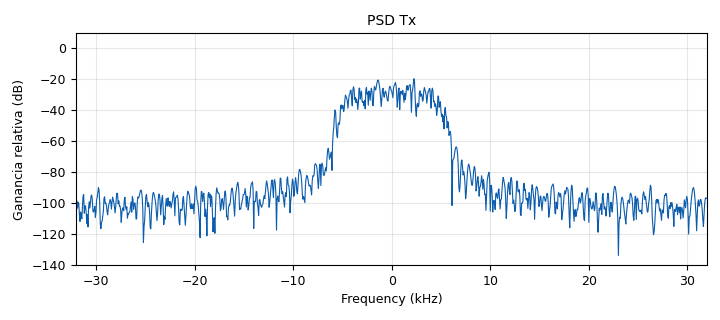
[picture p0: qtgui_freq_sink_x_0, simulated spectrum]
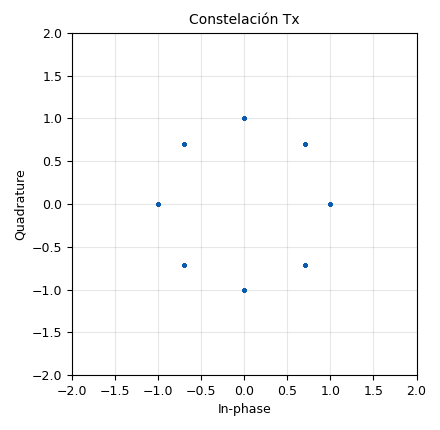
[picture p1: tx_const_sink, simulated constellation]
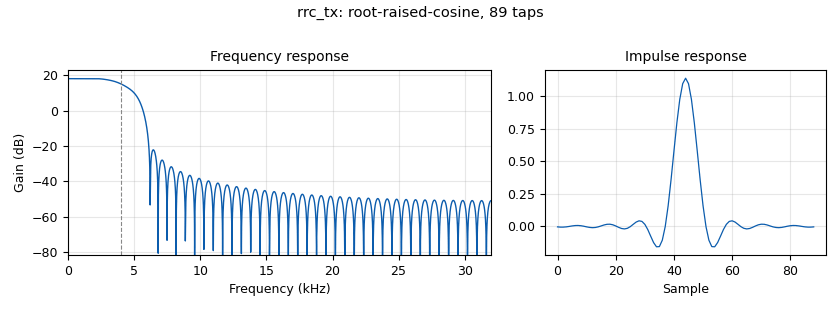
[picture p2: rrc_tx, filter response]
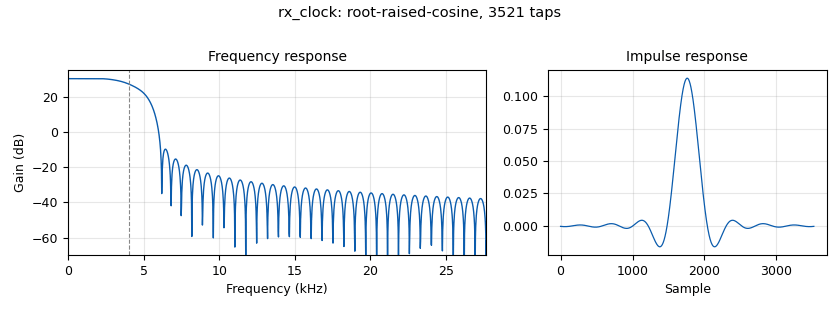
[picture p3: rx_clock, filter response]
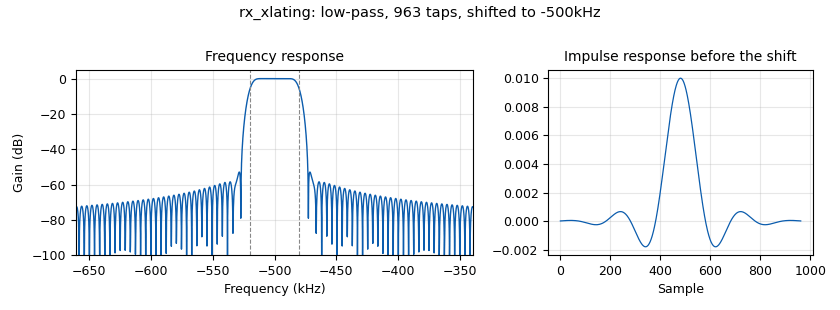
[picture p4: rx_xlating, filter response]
options:
  parameters:
    description: Tx PSK (BPSK/QPSK/8PSK) con RRC + Rx con segundo HackRF
    generate_options: qt_gui
    id: Guia2_Constelaciones_Tx_Rx
    output_language: python
    title: Guia 4 - BER vs Eb/N0 (BPSK/QPSK/8PSK)
  states: {}

blocks:
- name: EbN0_max
  id: variable
  parameters:
    value: '14.0'
  states: {}
- name: EbN0_min
  id: variable
  parameters:
    value: '0.0'
  states: {}
- name: EbN0_step
  id: variable
  parameters:
    value: '1.0'
  states: {}
- name: M
  id: variable
  parameters:
    value: len(tabla_de_verdad_constelacion)
  states: {}
- name: N_EbN0
  id: variable
  parameters:
    value: int(round((EbN0_max-EbN0_min)/EbN0_step))+1
  states: {}
- name: Rb
  id: variable
  parameters:
    value: Rs*bps
  states: {}
- name: Rs
  id: variable
  parameters:
    value: '8000'
  states: {}
- name: Sps
  id: variable
  parameters:
    value: '8'
  states: {}
- name: amplitude_a_v
  id: variable
  parameters:
    value: '0.5'
  states: {}
- name: bandwidth_bw_hz
  id: variable
  parameters:
    value: Rs*(1+beta)
  states: {}
- name: bb_rate
  id: variable
  parameters:
    value: rx_samp_rate
  states: {}
- name: beta
  id: variable_qtgui_range
  parameters:
    gui_hint: 2,1,1,1
    label: Roll-off (beta)
    start: '0.10'
    step: '0.05'
    stop: '1.0'
    value: '0.5'
  states: {}
- name: bits_guardia
  id: variable
  parameters:
    value: '1000'
  states: {}
- name: bits_per_record
  id: variable
  parameters:
    value: bits_por_punto
  states: {}
- name: bits_por_punto
  id: variable
  parameters:
    value: '100000'
  states: {}
- name: bps
  id: variable
  parameters:
    value: int(round(math.log(M,2)))
  states: {}
- name: csv_filename
  id: variable
  parameters:
    value: '"metricas_sistema_"+modulation_type+".csv"'
  states: {}
- name: delay_bits
  id: variable
  parameters:
    value: '0'
  states: {}
- name: delay_symbols
  id: variable
  parameters:
    value: '0'
  states: {}
- name: fc
  id: variable
  parameters:
    value: 860e6
  states: {}
- name: modulation_type
  id: variable
  parameters:
    value: '"BPSK"'
  states: {}
- name: nfilts
  id: variable
  parameters:
    value: '32'
  states: {}
- name: orden_mod
  id: variable
  parameters:
    value: '{"BPSK":2,"QPSK":4,"8PSK":8}[modulation_type]'
  states: {}
- name: overwrite_on_start
  id: variable
  parameters:
    value: 'True'
  states: {}
- name: radio_rate
  id: variable
  parameters:
    value: 4e6
  states: {}
- name: rrc_rx_taps
  id: variable_rrc_filter_taps
  parameters:
    alpha: beta
    gain: nfilts
    ntaps: 11*rx_sps*nfilts
    samp_rate: nfilts*rx_samp_rate
    sym_rate: Rs
  states: {}
- name: rrc_tx_taps
  id: variable_rrc_filter_taps
  parameters:
    alpha: beta
    gain: Sps
    ntaps: span*Sps
    samp_rate: samp_rate
    sym_rate: Rs
  states: {}
- name: ruido
  id: variable_qtgui_range
  parameters:
    gui_hint: 3,1,1,1
    label: Ruido
    start: '0'
    step: '0.01'
    stop: '1'
    value: '0'
  states: {}
- name: rx_amp
  id: variable
  parameters:
    comment: Amplificador RF del Rx (0 o 14)
    value: '0'
  states: {}
- name: rx_args
  id: variable
  parameters:
    comment: Si Tx es hackrf=0, el Rx es hackrf=1 (o use hackrf=<serial>)
    value: '"hackrf=1"'
  states: {}
- name: rx_decim
  id: variable
  parameters:
    value: '50'
  states: {}
- name: rx_lo_offset
  id: variable
  parameters:
    comment: Desplazamiento del LO para evitar el pico DC del Rx
    value: 500e3
  states: {}
- name: rx_samp_rate
  id: variable
  parameters:
    value: int(radio_rate/rx_decim)
  states: {}
- name: rx_sps
  id: variable
  parameters:
    value: int(rx_samp_rate/Rs)
  states: {}
- name: rx_vga
  id: variable_qtgui_range
  parameters:
    gui_hint: 3,0,1,1
    label: Ganancia Rx
    start: '0'
    step: '2'
    stop: '30'
    value: '15'
  states: {}
- name: samp_rate
  id: variable
  parameters:
    value: Rs*Sps
  states: {}
- name: span
  id: variable
  parameters:
    value: '11'
  states: {}
- name: tabla_de_verdad_constelacion
  id: variable
  parameters:
    comment: Cambie esta tabla para BPSK, QPSK u 8PSK
    value: (1+0j, 0.707+0.707j, -0.707+0.707j, 0+1j, 0.707-0.707j, 0-1j, -1+0j, -0.707-0.707j)
  states: {}
- name: tx_gain
  id: variable_qtgui_range
  parameters:
    gui_hint: 2,0,1,1
    label: Ganancia Tx
    start: '0'
    step: '1'
    stop: '30'
    value: '15'
  states: {}
- name: update_every
  id: variable
  parameters:
    value: '1000'
  states: {}
- name: analog_random_source_x_0
  id: analog_random_source_x
  parameters:
    max: '2'
    min: '0'
    num_samps: '1000'
    repeat: 'True'
    type: byte
  states: {}
- name: bits_to_symbols
  id: blocks_repack_bits_bb
  parameters:
    endianness: gr.GR_MSB_FIRST
    k: '1'
    l: bps
  states: {}
- name: blocks_null_sink_0
  id: blocks_null_sink
  parameters:
    type: float
    vlen: N_EbN0
  states: {}
- name: curva_ber
  id: qtgui_vector_sink_f
  parameters:
    grid: 'True'
    gui_hint: 4,0,1,2
    label1: '"BER"'
    name: '"Curva BER experimental vs Eb/N0"'
    update_time: '0.2'
    vlen: N_EbN0
    width1: '3'
    x_axis_label: '"Eb/N0 [dB]"'
    x_start: EbN0_min
    x_step: EbN0_step
    x_units: '"dB"'
    y_axis_label: '"log10(BER)"'
    ymax: '0'
    ymin: '-7'
  states: {}
- name: digital_chunks_to_symbols_xx_0
  id: digital_chunks_to_symbols_xx
  parameters:
    dimension: '1'
    in_type: byte
    out_type: complex
    symbol_table: tabla_de_verdad_constelacion
  states: {}
- name: e_BER_Curve
  id: epy_block
  parameters:
    EbN0_max: EbN0_max
    EbN0_min: EbN0_min
    EbN0_step: EbN0_step
    _source_code: |
      """
      e_BER_Curve
      Acumulador de curva BER para los sistemas de los estudiantes.

      Entrada 0 : bits transmitidos de referencia (byte 0/1).
      Entrada 1 : bits recuperados por el receptor (byte 0/1).

      Salida 0  : vector BER lineal.
      Salida 1  : vector log10(BER) para QT GUI Vector Sink.

      El bloque usa exactamente el mismo barrido que e_EbN0_Sweep. Para cada punto:
      - ignora bits_guardia al comienzo del segmento;
      - compara bits_por_punto;
      - cuando el barrido vuelve a un punto, sigue acumulando estadísticas.

      delay_bits retrasa internamente la referencia Tx para compensar el retardo
      del receptor. Se ajusta primero en una condición limpia hasta lograr BER≈0.

      Cuando todavía no se observa ningún error, la salida logarítmica utiliza
      3/N como cota superior aproximada para poder mostrar el punto sin afirmar
      que BER=0.
      """

      import numpy as np
      from collections import deque
      from gnuradio import gr


      class blk(gr.decim_block):
          def __init__(self,
                       EbN0_min=0.0,
                       EbN0_max=14.0,
                       EbN0_step=1.0,
                       bits_por_punto=100000,
                       bits_guardia=1000,
                       delay_bits=0,
                       update_every=1000):
              self.EbN0_min = float(EbN0_min)
              self.EbN0_max = float(EbN0_max)
              self.EbN0_step = float(EbN0_step)
              self.bits_por_punto = max(1, int(bits_por_punto))
              self.bits_guardia = max(0, int(bits_guardia))
              self.delay_bits = max(0, int(delay_bits))
              self.update_every = max(1, int(update_every))

              if self.EbN0_step <= 0:
                  raise ValueError("EbN0_step debe ser > 0")
              if self.EbN0_max < self.EbN0_min:
                  raise ValueError("EbN0_max debe ser >= EbN0_min")

              npts = int(round((self.EbN0_max-self.EbN0_min)/self.EbN0_step)) + 1
              self.eb_axis = self.EbN0_min + self.EbN0_step*np.arange(npts, dtype=np.float64)
              self.N = len(self.eb_axis)
              self.segment_bits = self.bits_guardia + self.bits_por_punto

              gr.decim_block.__init__(
                  self,
                  name='e_BER_Curve',
                  in_sig=[np.uint8, np.uint8],
                  out_sig=[(np.float32, self.N), (np.float32, self.N)],
                  decim=self.update_every
              )

              self.tx_fifo = deque([0]*self.delay_bits)
              self.raw_items = 0
              self.valid_bit_index = 0

              self.count = np.zeros(self.N, dtype=np.int64)
              self.errors = np.zeros(self.N, dtype=np.int64)

          def _process(self, tx, rx):
              for t, r in zip(tx, rx):
                  tb = int(t) & 1
                  rb = int(r) & 1

                  if self.delay_bits > 0:
                      self.tx_fifo.append(tb)
                      t_aligned = self.tx_fifo.popleft()
                      if self.raw_items < self.delay_bits:
                          self.raw_items += 1
                          continue
                  else:
                      t_aligned = tb

                  bit_index = self.valid_bit_index
                  segment_index = bit_index // self.segment_bits
                  point_index = segment_index % self.N
                  pos = bit_index % self.segment_bits

                  # Dejar que filtros/sincronizadores se estabilicen después
                  # del cambio de nivel de ruido.
                  if pos >= self.bits_guardia:
                      self.count[point_index] += 1
                      if t_aligned != rb:
                          self.errors[point_index] += 1

                  self.valid_bit_index += 1
                  self.raw_items += 1

          def _vectors(self):
              ber = np.zeros(self.N, dtype=np.float32)
              logber = np.zeros(self.N, dtype=np.float32)

              for i in range(self.N):
                  n = int(self.count[i])
                  e = int(self.errors[i])

                  if n <= 0:
                      ber[i] = 0.0
                      logber[i] = 0.0
                  elif e > 0:
                      b = e/float(n)
                      ber[i] = b
                      logber[i] = np.log10(max(b, 1e-12))
                  else:
                      # BER observado = 0; para la gráfica usamos una cota superior.
                      ber[i] = 0.0
                      upper = min(1.0, 3.0/float(n))
                      logber[i] = np.log10(max(upper, 1e-12))

              return ber, logber

          def work(self, input_items, output_items):
              tx = input_items[0]
              rx = input_items[1]
              out_ber = output_items[0]
              out_log = output_items[1]

              nout = len(out_ber)
              D = self.update_every

              for k in range(nout):
                  a = k*D
                  b = min((k+1)*D, len(tx))
                  if a < b:
                      self._process(tx[a:b], rx[a:b])

                  ber, logber = self._vectors()
                  out_ber[k, :] = ber
                  out_log[k, :] = logber

              return nout
    bits_guardia: bits_guardia
    bits_por_punto: bits_por_punto
    delay_bits: delay_bits
    update_every: update_every
  states: {}
- name: e_EbN0_Sweep
  id: epy_block
  parameters:
    EbN0_max: EbN0_max
    EbN0_min: EbN0_min
    EbN0_step: EbN0_step
    _source_code: |
      """
      e_EbN0_Sweep
      Instrumento para caracterización BER con un enlace SDR ya funcional.

      Entrada 0 : señal compleja I/Q recibida del SDR (preferiblemente DESPUÉS
                  de la adaptación radio_rate -> bb_rate).
      Salida 0  : la misma señal I/Q con AWGN adicional controlado.
      Salida 1  : valor instantáneo de Eb/N0 [dB] usado en el barrido.

      El bloque NO sustituye el USRP/HackRF ni el receptor. Se inserta entre
      la salida I/Q del SDR y la entrada del receptor digital.

      El barrido se hace por segmentos contiguos. Cada punto se mantiene durante:
          bits_guardia + bits_por_punto

      La potencia de ruido artificial se calcula a partir de la potencia promedio
      medida ANTES de agregar el ruido:

          Eb = Ps / Rb
          N0 = Eb / (Eb/N0)
          Pn = N0 * Fs

      por lo tanto:

          Pn = Ps * Fs / (Rb * 10**(EbN0_dB/10))

      El ruido complejo se genera con varianza total Pn.
      """

      import numpy as np
      from gnuradio import gr


      class blk(gr.sync_block):
          def __init__(self,
                       EbN0_min=0.0,
                       EbN0_max=14.0,
                       EbN0_step=1.0,
                       samp_rate=256000.0,
                       bit_rate=64000.0,
                       bits_por_punto=100000,
                       bits_guardia=1000,
                       signal_power=0.0,
                       seed=2026):
              gr.sync_block.__init__(
                  self,
                  name='e_EbN0_Sweep',
                  in_sig=[np.complex64],
                  out_sig=[np.complex64, np.float32]
              )

              self.EbN0_min = float(EbN0_min)
              self.EbN0_max = float(EbN0_max)
              self.EbN0_step = float(EbN0_step)
              self.samp_rate = float(samp_rate)
              self.bit_rate = float(bit_rate)
              self.bits_por_punto = max(1, int(bits_por_punto))
              self.bits_guardia = max(0, int(bits_guardia))
              self.signal_power_cfg = float(signal_power)

              if self.EbN0_step <= 0:
                  raise ValueError("EbN0_step debe ser > 0")
              if self.samp_rate <= 0 or self.bit_rate <= 0:
                  raise ValueError("samp_rate y bit_rate deben ser > 0")
              if self.EbN0_max < self.EbN0_min:
                  raise ValueError("EbN0_max debe ser >= EbN0_min")

              npts = int(round((self.EbN0_max-self.EbN0_min)/self.EbN0_step)) + 1
              self.eb_axis = self.EbN0_min + self.EbN0_step*np.arange(npts, dtype=np.float64)
              self.segment_bits = self.bits_guardia + self.bits_por_punto

              self.sample_count = 0
              self.power_sum = 0.0
              self.power_count = 0
              self.rng = np.random.default_rng(int(seed))

          def _signal_power(self, x):
              if self.signal_power_cfg > 0:
                  return self.signal_power_cfg

              # Promedio acumulado de la señal recibida ANTES del ruido artificial.
              self.power_sum += float(np.sum(np.abs(x.astype(np.complex128))**2))
              self.power_count += len(x)
              if self.power_count <= 0:
                  return 0.0
              return max(self.power_sum/self.power_count, 1e-20)

          def work(self, input_items, output_items):
              x = input_items[0]
              y = output_items[0]
              eb_out = output_items[1]
              n = len(x)
              if n == 0:
                  return 0

              Ps = self._signal_power(x)

              # Índice absoluto de muestra -> índice equivalente de bit.
              s = self.sample_count + np.arange(n, dtype=np.float64)
              bit_index = np.floor(s*self.bit_rate/self.samp_rate).astype(np.int64)

              segment_index = bit_index // self.segment_bits
              point_index = np.mod(segment_index, len(self.eb_axis))
              ebn0_db = self.eb_axis[point_index]
              ebn0_lin = np.power(10.0, ebn0_db/10.0)

              # Potencia total del ruido complejo por muestra.
              noise_power = Ps*self.samp_rate/(self.bit_rate*ebn0_lin)
              sigma_iq = np.sqrt(np.maximum(noise_power, 0.0)/2.0)

              noise = (
                  self.rng.standard_normal(n)*sigma_iq
                  + 1j*self.rng.standard_normal(n)*sigma_iq
              ).astype(np.complex64)

              y[:] = x + noise
              eb_out[:] = ebn0_db.astype(np.float32)

              self.sample_count += n
              return n
    bit_rate: Rb
    bits_guardia: bits_guardia
    bits_por_punto: bits_por_punto
    samp_rate: bb_rate
    seed: '2026'
    signal_power: '0.0'
  states: {}
- name: e_Metricas_Sistema_CSV
  id: epy_block
  parameters:
    _source_code: "\"\"\"\r\ne_Metricas_Sistema_CSV\r\nVersión sincronizada con e_EbN0_Sweep.\r\n\r\nEntradas:\r\n  0: I/Q limpia de referencia (complex)\r\n  1: I/Q con ruido / perturbación (complex)\r\n  2: bits Tx de referencia (byte 0/1)\r\n  3: bits Rx recuperados (byte 0/1)\r\n  4: símbolos Tx (byte: 0...M-1)\r\n  5: símbolos Rx decididos (byte: 0...M-1)\r\n  6: Eb/N0 actual entregado por la salida 1 de e_EbN0_Sweep (float)\r\n\r\nCada fila del CSV queda asociada a UN SOLO valor de Eb/N0.\r\nLos primeros bitsGuardia de cada tramo se excluyen de la medición.\r\n\r\nIMPORTANTE:\r\n- bitsPerRecord debe ser igual a bits_por_punto de e_EbN0_Sweep.\r\n- bitsGuardia debe ser igual a bits_guardia de e_EbN0_Sweep.\r\n- Las entradas I/Q 0, 1 y 6 deben pertenecer al mismo flujo y estar alineadas.\r\n- delayBits y delaySymbols compensan el retardo del receptor.\r\n\"\"\"\r\n\r\nimport numpy as np\r\nfrom collections import deque\r\nfrom pathlib import Path\r\nimport csv\r\nfrom gnuradio import gr\r\n\r\n\r\nclass blk(gr.basic_block):\r\n    def __init__(self,\r\n                 modulationType=\"BPSK\",\r\n                 bitsPerSymbolM=1,\r\n                 sampRateHz=320000.0,\r\n                 symbolRateRsBaud=32000.0,\r\n                 bandwidthBwHz=43200.0,\r\n                 amplitudeAV=1.0,\r\n                 bitsPerRecord=100000,\r\n                 bitsGuardia=1000,\r\n                 delayBits=0,\r\n                 delaySymbols=0,\r\n                 csvFilename=\"metricas_sistema.csv\",\r\n                 overwriteOnStart=True):\r\n\r\n        gr.basic_block.__init__(\r\n            self,\r\n            name=\"e_Metricas_Sistema_CSV\",\r\n            in_sig=[\r\n                np.complex64,  # 0 I/Q limpia\r\n                np.complex64,  # 1 I/Q con ruido\r\n                np.uint8,      # 2 bits Tx\r\n                np.uint8,      # 3 bits Rx\r\n                np.uint8,      # 4 símbolos Tx\r\n                np.uint8,      # 5 símbolos Rx\r\n                np.float32     # 6 Eb/N0 actual\r\n            ],\r\n            out_sig=[]\r\n        )\r\n\r\n        # Se conservan los nombres internos originales.\r\n        self.modulation_type = str(modulationType)\r\n        self.bits_per_symbol_m = max(1, int(bitsPerSymbolM))\r\n        self.samp_rate_hz = float(sampRateHz)\r\n        self.symbol_rate_rs_baud = float(symbolRateRsBaud)\r\n        self.bandwidth_bw_hz = float(bandwidthBwHz)\r\n        self.amplitude_a_v = float(amplitudeAV)\r\n        self.bits_per_record = max(1, int(bitsPerRecord))\r\n        self.bits_guardia = max(0, int(bitsGuardia))\r\n        self.delay_bits = max(0, int(delayBits))\r\n        self.delay_symbols = max(0, int(delaySymbols))\r\n        self.csv_filename = str(csvFilename)\r\n        self.overwrite_on_start = bool(overwriteOnStart)\r\n\r\n        if self.samp_rate_hz <= 0:\r\n            raise ValueError(\"sampRateHz debe ser > 0\")\r\n        if self.symbol_rate_rs_baud <= 0:\r\n            raise ValueError(\"symbolRateRsBaud debe ser > 0\")\r\n        if self.bandwidth_bw_hz < 0:\r\n            raise ValueError(\"bandwidthBwHz debe ser >= 0\")\r\n\r\n        self.bit_rate = (\r\n            self.symbol_rate_rs_baud\r\n            * self.bits_per_symbol_m\r\n        )\r\n\r\n        # Deben coincidir con e_EbN0_Sweep.\r\n        self.segment_bits = (\r\n            self.bits_guardia\r\n            + self.bits_per_record\r\n        )\r\n\r\n        # Conversión de la guarda de bits a muestras I/Q.\r\n        self.guard_iq_samples = max(\r\n            0,\r\n            int(round(\r\n                self.bits_guardia\r\n                * self.samp_rate_hz\r\n                / self.bit_rate\r\n            ))\r\n        )\r\n\r\n        self.csv_path = Path.cwd() / self.csv_filename\r\n\r\n        self.header = [\r\n            \"modulation_type\",\r\n            \"bits_per_symbol_m\",\r\n            \"samp_rate_hz\",\r\n            \"symbol_rate_rs_baud\",\r\n            \"bandwidth_bw_hz\",\r\n            \"amplitude_a_v\",\r\n            \"ebn0_db\",\r\n            \"noise_variance_sigma2\",\r\n            \"measured_snr_db\",\r\n            \"measured_ber\",\r\n            \"measured_ser\",\r\n            \"iq_dispersion_rms\"\r\n        ]\r\n\r\n        # Alineación Tx/Rx.\r\n        self.bit_fifo = deque()\r\n        self.symbol_fifo = deque()\r\n        self.raw_bit_items = 0\r\n        self.raw_symbol_items = 0\r\n\r\n        # Índices válidos después de la compensación de retardo.\r\n        self.valid_bit_index = 0\r\n        self.valid_symbol_index = 0\r\n\r\n        # Estado I/Q controlado por la entrada Eb/N0.\r\n        self.current_ebn0 = None\r\n        self.iq_segment_seq = -1\r\n        self.iq_segment_sample_pos = 0\r\n        self.iq_clean_energy = 0.0\r\n        self.iq_noise_energy = 0.0\r\n        self.iq_count = 0\r\n\r\n        # Estado BER.\r\n        self.bit_segment_seq = 0\r\n        self.bit_count = 0\r\n        self.bit_errors = 0\r\n\r\n        # Estado SER.\r\n        self.symbol_segment_seq = 0\r\n        self.symbol_count = 0\r\n        self.symbol_errors = 0\r\n\r\n        # Resultados parciales por número de tramo.\r\n        self.iq_results = {}\r\n        self.bit_results = {}\r\n        self.symbol_results = {}\r\n        self.written_segments = set()\r\n\r\n        self._prepare_csv()\r\n\r\n        print(\"CSV de métricas se guardará en:\")\r\n        print(self.csv_path)\r\n\r\n    def _prepare_csv(self):\r\n        mode = \"w\" if self.overwrite_on_start else \"a\"\r\n\r\n        need_header = (\r\n            self.overwrite_on_start\r\n            or not self.csv_path.exists()\r\n            or self.csv_path.stat().st_size == 0\r\n        )\r\n\r\n        if need_header:\r\n            with open(\r\n                self.csv_path,\r\n                mode,\r\n                newline=\"\",\r\n                encoding=\"utf-8\"\r\n            ) as f:\r\n                csv.writer(f).writerow(self.header)\r\n\r\n    # ------------------------------------------------------------\r\n    # I/Q + Eb/N0\r\n    # ------------------------------------------------------------\r\n\r\n    def _start_iq_segment(self, ebn0):\r\n        self.iq_segment_seq += 1\r\n        self.current_ebn0 = float(ebn0)\r\n        self.iq_segment_sample_pos = 0\r\n        self.iq_clean_energy = 0.0\r\n        self.iq_noise_energy = 0.0\r\n        self.iq_count = 0\r\n\r\n    def _finish_iq_segment(self):\r\n        if self.iq_segment_seq < 0:\r\n            return\r\n\r\n        self.iq_results[self.iq_segment_seq] = {\r\n            \"ebn0_db\": self.current_ebn0,\r\n            \"clean_energy\": self.iq_clean_energy,\r\n            \"noise_energy\": self.iq_noise_energy,\r\n            \"count\": self.iq_count\r\n        }\r\n\r\n        self._try_write(self.iq_segment_seq)\r\n\r\n    def _process_iq_control(self, clean, noisy, ebn0):\r\n        n = min(len(clean), len(noisy), len(ebn0))\r\n\r\n        if n <= 0:\r\n            return 0\r\n\r\n        clean = clean[:n]\r\n        noisy = noisy[:n]\r\n        control = ebn0[:n]\r\n\r\n        # Detecta cambios de Eb/N0 sin recorrer muestra por muestra.\r\n        changes = np.flatnonzero(\r\n            np.abs(np.diff(control.astype(np.float64))) > 1e-6\r\n        ) + 1\r\n\r\n        boundaries = np.concatenate((\r\n            np.array([0], dtype=np.int64),\r\n            changes.astype(np.int64),\r\n            np.array([n], dtype=np.int64)\r\n        ))\r\n\r\n        for k in range(len(boundaries) - 1):\r\n            a = int(boundaries[k])\r\n            b = int(boundaries[k + 1])\r\n\r\n            if b <= a:\r\n                continue\r\n\r\n            eb_value = float(control[a])\r\n\r\n            if self.current_ebn0 is None:\r\n                self._start_iq_segment(eb_value)\r\n\r\n            elif abs(\r\n                eb_value - self.current_ebn0\r\n            ) > 1e-6:\r\n                self._finish_iq_segment()\r\n                self._start_iq_segment(eb_value)\r\n\r\n            x = clean[a:b].astype(np.complex128)\r\n            y = noisy[a:b].astype(np.complex128)\r\n\r\n            # Excluir la zona de guarda de este tramo.\r\n            run_start = self.iq_segment_sample_pos\r\n            run_end = run_start + len(x)\r\n\r\n            useful_start = max(\r\n                self.guard_iq_samples,\r\n                run_start\r\n            )\r\n\r\n            useful_end = run_end\r\n\r\n            if useful_end > useful_start:\r\n                ia = useful_start - run_start\r\n                ib = useful_end - run_start\r\n\r\n                xu = x[ia:ib]\r\n                yu = y[ia:ib]\r\n                error = yu - xu\r\n\r\n                self.iq_clean_energy += float(\r\n                    np.sum(np.abs(xu) ** 2)\r\n                )\r\n\r\n                self.iq_noise_energy += float(\r\n                    np.sum(np.abs(error) ** 2)\r\n                )\r\n\r\n                self.iq_count += len(xu)\r\n\r\n            self.iq_segment_sample_pos += len(x)\r\n\r\n        return n\r\n\r\n    # ------------------------------------------------------------\r\n    # BER\r\n    # ------------------------------------------------------------\r\n\r\n    def _finish_bit_segment(self, seq):\r\n        self.bit_results[seq] = {\r\n            \"count\": self.bit_count,\r\n            \"errors\": self.bit_errors\r\n        }\r\n\r\n        self._try_write(seq)\r\n\r\n        self.bit_count = 0\r\n        self.bit_errors = 0\r\n\r\n    def _process_bits(self, tx, rx):\r\n        n = min(len(tx), len(rx))\r\n\r\n        if n <= 0:\r\n            return 0\r\n\r\n        used = 0\r\n\r\n        while used < n:\r\n            t = int(tx[used]) & 1\r\n            r = int(rx[used]) & 1\r\n\r\n            self.bit_fifo.append(t)\r\n\r\n            if len(self.bit_fifo) > self.delay_bits:\r\n                t_aligned = self.bit_fifo.popleft()\r\n\r\n                bit_index = self.valid_bit_index\r\n                seq = bit_index // self.segment_bits\r\n                pos = bit_index % self.segment_bits\r\n\r\n                if seq != self.bit_segment_seq:\r\n                    self._finish_bit_segment(\r\n                        self.bit_segment_seq\r\n                    )\r\n                    self.bit_segment_seq = seq\r\n\r\n                if pos >= self.bits_guardia:\r\n                    self.bit_count += 1\r\n\r\n                    if t_aligned != r:\r\n                        self.bit_errors += 1\r\n\r\n                self.valid_bit_index += 1\r\n\r\n            self.raw_bit_items += 1\r\n            used += 1\r\n\r\n        return used\r\n\r\n    # ------------------------------------------------------------\r\n    # SER\r\n    # ------------------------------------------------------------\r\n\r\n    def _finish_symbol_segment(self, seq):\r\n        self.symbol_results[seq] = {\r\n            \"count\": self.symbol_count,\r\n            \"errors\": self.symbol_errors\r\n        }\r\n\r\n        self._try_write(seq)\r\n\r\n        self.symbol_count = 0\r\n        self.symbol_errors = 0\r\n\r\n    def _process_symbols(self, tx, rx):\r\n        n = min(len(tx), len(rx))\r\n\r\n        if n <= 0:\r\n            return 0\r\n\r\n        used = 0\r\n\r\n        while used < n:\r\n            t = int(tx[used])\r\n            r = int(rx[used])\r\n\r\n            self.symbol_fifo.append(t)\r\n\r\n            if len(self.symbol_fifo) > self.delay_symbols:\r\n                t_aligned = self.symbol_fifo.popleft()\r\n\r\n                # Posición equivalente en bits.\r\n                bit_index = (\r\n                    self.valid_symbol_index\r\n                    * self.bits_per_symbol_m\r\n                )\r\n\r\n                seq = bit_index // self.segment_bits\r\n                pos = bit_index % self.segment_bits\r\n\r\n                if seq != self.symbol_segment_seq:\r\n                    self._finish_symbol_segment(\r\n                        self.symbol_segment_seq\r\n                    )\r\n                    self.symbol_segment_seq = seq\r\n\r\n                # Se cuenta el símbolo si su primer bit está\r\n                # después de la guarda y dentro de la zona útil.\r\n                if (\r\n                    pos >= self.bits_guardia\r\n                    and pos < self.segment_bits\r\n                ):\r\n                    self.symbol_count += 1\r\n\r\n                    if t_aligned != r:\r\n                        self.symbol_errors += 1\r\n\r\n                self.valid_symbol_index += 1\r\n\r\n            self.raw_symbol_items += 1\r\n            used += 1\r\n\r\n        return used\r\n\r\n    # ------------------------------------------------------------\r\n    # Escritura CSV\r\n    # ------------------------------------------------------------\r\n\r\n    def _try_write(self, seq):\r\n        if seq in self.written_segments:\r\n            return\r\n\r\n        if (\r\n            seq not in self.iq_results\r\n            or seq not in self.bit_results\r\n            or seq not in self.symbol_results\r\n        ):\r\n            return\r\n\r\n        iq = self.iq_results[seq]\r\n        bit = self.bit_results[seq]\r\n        sym = self.symbol_results[seq]\r\n\r\n        iq_count = int(iq[\"count\"])\r\n\r\n        if iq_count <= 0:\r\n            return\r\n\r\n        signal_power = (\r\n            iq[\"clean_energy\"]\r\n            / float(iq_count)\r\n        )\r\n\r\n        noise_power = (\r\n            iq[\"noise_energy\"]\r\n            / float(iq_count)\r\n        )\r\n\r\n        # sigma^2 por componente I o Q.\r\n        noise_variance_sigma2 = (\r\n            0.5 * noise_power\r\n        )\r\n\r\n        if noise_power > 1e-30:\r\n            measured_snr_db = (\r\n                10.0\r\n                * np.log10(\r\n                    signal_power / noise_power\r\n                )\r\n            )\r\n        else:\r\n            measured_snr_db = float(\"inf\")\r\n\r\n        measured_ber = (\r\n            bit[\"errors\"] / float(bit[\"count\"])\r\n            if bit[\"count\"] > 0\r\n            else float(\"nan\")\r\n        )\r\n\r\n        measured_ser = (\r\n            sym[\"errors\"] / float(sym[\"count\"])\r\n            if sym[\"count\"] > 0\r\n            else float(\"nan\")\r\n        )\r\n\r\n        iq_dispersion_rms = np.sqrt(\r\n            max(noise_power, 0.0)\r\n        )\r\n\r\n        row = [\r\n            self.modulation_type,\r\n            self.bits_per_symbol_m,\r\n            f\"{self.samp_rate_hz:.6f}\",\r\n            f\"{self.symbol_rate_rs_baud:.6f}\",\r\n            f\"{self.bandwidth_bw_hz:.6f}\",\r\n            f\"{self.amplitude_a_v:.6f}\",\r\n            f\"{float(iq['ebn0_db']):.6f}\",\r\n            f\"{noise_variance_sigma2:.9f}\",\r\n            f\"{measured_snr_db:.6f}\",\r\n            f\"{measured_ber:.9f}\",\r\n            f\"{measured_ser:.9f}\",\r\n            f\"{iq_dispersion_rms:.9f}\"\r\n        ]\r\n\r\n        with open(\r\n            self.csv_path,\r\n            \"a\",\r\n            newline=\"\",\r\n            encoding=\"utf-8\"\r\n        ) as f:\r\n            csv.writer(f).writerow(row)\r\n\r\n        print(\r\n            \"Registro CSV:\",\r\n            self.modulation_type,\r\n            \"Eb/N0=\",\r\n            f\"{float(iq['ebn0_db']):.3f}\",\r\n            \"SNR=\",\r\n            f\"{measured_snr_db:.3f}\",\r\n            \"BER=\",\r\n            f\"{measured_ber:.6g}\",\r\n            \"SER=\",\r\n            f\"{measured_ser:.6g}\"\r\n        )\r\n\r\n        self.written_segments.add(seq)\r\n\r\n        # Liberar memoria de tramos ya escritos.\r\n        del self.iq_results[seq]\r\n        del self.bit_results[seq]\r\n        del self.symbol_results[seq]\r\n\r\n    # ------------------------------------------------------------\r\n    # Scheduler\r\n    # ------------------------------------------------------------\r\n\r\n    def general_work(self, input_items, output_items):\r\n\r\n        # I/Q + control Eb/N0\r\n        used_iq = self._process_iq_control(\r\n            input_items[0],\r\n            input_items[1],\r\n            input_items[6]\r\n        )\r\n\r\n        if used_iq > 0:\r\n            self.consume(0, used_iq)\r\n            self.consume(1, used_iq)\r\n            self.consume(6, used_iq)\r\n\r\n        # Bits\r\n        used_bits = self._process_bits(\r\n            input_items[2],\r\n            input_items[3]\r\n        )\r\n\r\n        if used_bits > 0:\r\n            self.consume(2, used_bits)\r\n            self.consume(3, used_bits)\r\n\r\n        # Símbolos\r\n        used_symbols = self._process_symbols(\r\n            input_items[4],\r\n            input_items[5]\r\n        )\r\n\r\n        if used_symbols > 0:\r\n            self.consume(4, used_symbols)\r\n            self.consume(5, used_symbols)\r\n\r\n        # Es un bloque sumidero.\r\n        return 0\r\n"
    amplitudeAV: amplitude_a_v
    bandwidthBwHz: bandwidth_bw_hz
    bitsGuardia: bits_guardia
    bitsPerRecord: bits_per_record
    bitsPerSymbolM: bps
    comment: |-
      COPIAR ESTE BLOQUE AL SISTEMA DEL GRUPO.
      Entradas: 0=IQ limpia, 1=IQ con ruido, 2=bits Tx, 3=bits Rx, 4=símbolos Tx, 5=símbolos Rx.
      Genera metricas_sistema.csv automáticamente.
    csvFilename: csv_filename
    delayBits: delay_bits
    delaySymbols: delay_symbols
    modulationType: modulation_type
    overwriteOnStart: overwrite_on_start
    sampRateHz: bb_rate
    symbolRateRsBaud: Rs
  states: {}
- name: e_Rx_Align
  id: epy_block
  parameters:
    _source_code: |
      """
      e_Rx_Align
      Decisión PSK + resolución de ambigüedad de fase/retardo con referencia conocida.

      Entrada 0 : símbolos complejos (1 muestra/símbolo) a la salida del lazo Costas.
      Entrada 1 : símbolos Tx de referencia (byte 0...M-1), tomados antes del modulador.
      Salida 0  : símbolos Rx decididos y corregidos de rotación (byte 0...M-1).
      Salida 1  : símbolos Tx de referencia ALINEADOS con la salida 0 (byte 0...M-1).

      La fuente de bits Tx es periódica (n_bits_patron bits). El bloque captura un
      periodo de la referencia y, cada 'ventana' símbolos, busca por correlación la
      rotación r (ambigüedad del Costas: 2, 4 u 8 fases) y el retardo L (módulo el
      periodo) con mayor coincidencia. Se aplica la última estimación válida, por lo
      que no hay latencia añadida. Mientras no hay enganche (primeros ~1000 símbolos)
      la referencia se iguala a la decisión (no se cuentan errores).

      'tabla' es la constelación indexada por etiqueta (puntos en raíces M-ésimas de 1).
      """

      import math
      import numpy as np
      from gnuradio import gr


      class blk(gr.sync_block):
          def __init__(self,
                       tabla=(1+0j, -1+0j),
                       n_bits_patron=1000,
                       ventana=200,
                       zscore=6.0):
              gr.sync_block.__init__(
                  self,
                  name='e_Rx_Align',
                  in_sig=[np.complex64, np.uint8],
                  out_sig=[np.uint8, np.uint8]
              )
              t = np.array(tabla, dtype=np.complex128)
              self._M = len(t)
              M = self._M
              if M < 2:
                  raise ValueError("tabla debe tener al menos 2 puntos")
              bps = int(round(math.log2(M)))
              pos = np.mod(np.rint(np.angle(t)*M/(2*np.pi)).astype(np.int64), M)
              if len(set(pos.tolist())) != M:
                  raise ValueError("tabla debe ser PSK con puntos en 2*pi*k/M")
              self._lab_of_pos = np.zeros(M, dtype=np.uint8)
              for lab, p in enumerate(pos):
                  self._lab_of_pos[p] = lab

              nb = max(1, int(n_bits_patron))
              self._P = nb*bps//math.gcd(nb, bps)//bps   # periodo en símbolos
              self._W = max(50, int(ventana))
              c = 1.0/M
              self._thr = self._W*c + float(zscore)*math.sqrt(self._W*c*(1-c))

              self._pat = np.zeros(self._P, dtype=np.uint8)
              self._cap = 0
              self._wbuf = np.zeros(self._W, dtype=np.int64)
              self._wfill = 0
              self._k = 0
              self._locked = False
              self._r = 0
              self._L = 0
              self._miss = 0

          def _update(self):
              if self._cap < self._P:
                  return
              M, W, P = self._M, self._W, self._P
              k0 = self._k - W
              if self._locked and self._miss < 5:
                  Ls = np.mod(self._L + np.arange(-2, 3), P)
              else:
                  Ls = np.arange(P)
              idx = np.mod(k0 + np.arange(W)[None, :] + Ls[:, None], P)
              ref = self._pat[idx]
              best = (-1, 0, 0)
              for r in range(M):
                  a = self._lab_of_pos[np.mod(self._wbuf - r, M)]
                  sc = (ref == a[None, :]).sum(axis=1)
                  j = int(sc.argmax())
                  if sc[j] > best[0]:
                      best = (int(sc[j]), r, int(Ls[j]))
              if best[0] >= self._thr:
                  if (not self._locked) or best[1] != self._r or best[2] != self._L:
                      print("[e_Rx_Align] r=%d L=%d coincidencia=%.2f (simbolo %d)"
                            % (best[1], best[2], best[0]/W, self._k))
                  self._r, self._L = best[1], best[2]
                  self._locked = True
                  self._miss = 0
              elif self._locked:
                  self._miss += 1

          def work(self, input_items, output_items):
              x = input_items[0]
              t = input_items[1]
              o_rx = output_items[0]
              o_ref = output_items[1]
              n = min(len(x), len(t), len(o_rx))
              if n == 0:
                  return 0
              M, W, P = self._M, self._W, self._P

              if self._cap < P:
                  m = min(P - self._cap, n)
                  self._pat[self._cap:self._cap+m] = t[:m]
                  self._cap += m

              p = np.mod(np.rint(np.angle(x[:n])*M/(2*np.pi)).astype(np.int64), M)
              i = 0
              while i < n:
                  take = min(n - i, W - self._wfill)
                  seg = p[i:i+take]
                  self._wbuf[self._wfill:self._wfill+take] = seg
                  if self._locked:
                      o_rx[i:i+take] = self._lab_of_pos[np.mod(seg - self._r, M)]
                      kk = self._k + np.arange(take)
                      o_ref[i:i+take] = self._pat[np.mod(kk + self._L, P)]
                  else:
                      lab = self._lab_of_pos[seg]
                      o_rx[i:i+take] = lab
                      o_ref[i:i+take] = lab
                  self._wfill += take
                  self._k += take
                  i += take
                  if self._wfill == W:
                      self._update()
                      self._wfill = 0
              return n
    comment: Decisión PSK + alineación Tx/Rx
    n_bits_patron: '1000'
    tabla: tabla_de_verdad_constelacion
    ventana: '200'
    zscore: '6.0'
  states: {}
- name: import_0
  id: import
  parameters:
    imports: import math
  states: {}
- name: import_1
  id: import
  parameters:
    imports: from gnuradio.filter import firdes
  states: {}
- name: import_2
  id: import
  parameters:
    imports: import cmath
  states: {}
- name: noise_add
  id: blocks_add_xx
  parameters:
    type: complex
  states: {}
- name: noise_src
  id: analog_noise_source_x
  parameters:
    amp: ruido
    comment: Ruido AWGN
    noise_type: analog.GR_GAUSSIAN
    seed: '0'
    type: complex
  states: {}
- name: osmosdr_sink_0
  id: osmosdr_sink
  parameters:
    args: hackrf=0
    bb_gain0: '20'
    freq0: fc
    gain0: '0'
    if_gain0: tx_gain
    sample_rate: radio_rate
    sync: none
    type: fc32
  states: {}
- name: osmosdr_source_0
  id: osmosdr_source
  parameters:
    args: rx_args
    bb_gain0: rx_vga
    freq0: fc + rx_lo_offset
    gain0: rx_amp
    gain_mode0: 'False'
    if_gain0: '16'
    sample_rate: radio_rate
    sync: none
    type: fc32
  states: {}
- name: qtgui_freq_sink_x_0
  id: qtgui_freq_sink_x
  parameters:
    bw: samp_rate
    fc: '0'
    fftsize: '1024'
    grid: 'True'
    gui_hint: 0,0,1,1
    label: Ganancia relativa
    name: '"PSD Tx"'
    type: complex
  states: {}
- name: rational_resampler_xxx_0
  id: rational_resampler_xxx
  parameters:
    decim: '4'
    interp: '250'
    type: ccc
  states: {}
- name: rrc_tx
  id: interp_fir_filter_xxx
  parameters:
    interp: Sps
    taps: rrc_tx_taps
    type: ccf
  states: {}
- name: rx_agc
  id: analog_agc_xx
  parameters:
    gain: '1.0'
    max_gain: '65536'
    rate: '1e-3'
    reference: '1.0'
    type: complex
  states: {}
- name: rx_clock
  id: digital_pfb_clock_sync_xxx
  parameters:
    comment: Filtro acoplado RRC + sincronismo de simbolo
    filter_size: nfilts
    init_phase: nfilts/2
    loop_bw: 2*math.pi/100
    max_dev: '1.5'
    osps: '1'
    sps: rx_sps
    taps: rrc_rx_taps
    type: ccf
  states: {}
- name: rx_const_sink
  id: qtgui_const_sink_x
  parameters:
    grid: 'True'
    gui_hint: 1,1,1,1
    name: '"Constelación Rx"'
    size: '2048'
    type: complex
  states: {}
- name: rx_costas
  id: digital_costas_loop_cc
  parameters:
    comment: Sincronismo de fase/portadora
    order: M
    w: 2*math.pi/100
  states: {}
- name: rx_fll
  id: digital_fll_band_edge_cc
  parameters:
    comment: Sincronismo grueso de frecuencia
    filter_size: 2*rx_sps
    rolloff: beta
    samps_per_sym: rx_sps
    type: cc
    w: 2*math.pi/rx_sps/100
  states: {}
- name: rx_freq_sink_bb
  id: qtgui_freq_sink_x
  parameters:
    average: '0.2'
    bw: rx_samp_rate
    comment: Espectro en banda base (la senal debe quedar centrada en 0)
    fc: '0'
    fftsize: '1024'
    grid: 'True'
    gui_hint: 1,0,1,1
    label: Ganancia relativa
    name: '"PSD Rx banda base"'
    type: complex
    ymax: '0'
    ymin: '-120'
  states: {}
- name: rx_xlating
  id: freq_xlating_fir_filter_xxx
  parameters:
    center_freq: '-rx_lo_offset'
    comment: Baja la senal a banda base, filtra y decima a rx_samp_rate
    decim: rx_decim
    samp_rate: radio_rate
    taps: firdes.low_pass(1, radio_rate, 20e3, 10e3)
    type: ccf
  states: {}
- name: tx_const_sink
  id: qtgui_const_sink_x
  parameters:
    grid: 'True'
    gui_hint: 0,1,1,1
    name: '"Constelación Tx"'
    size: '1024'
    type: complex
  states: {}
- name: tx_scale
  id: blocks_multiply_const_vxx
  parameters:
    comment: Evita saturacion del DAC
    const: '0.5'
    type: complex
  states: {}
- name: unpack_ref
  id: blocks_unpack_k_bits_bb
  parameters:
    k: bps
  states: {}
- name: unpack_rx
  id: blocks_unpack_k_bits_bb
  parameters:
    k: bps
  states: {}

connections:
- [analog_random_source_x_0, '0', bits_to_symbols, '0']
- [bits_to_symbols, '0', digital_chunks_to_symbols_xx_0, '0']
- [bits_to_symbols, '0', e_Rx_Align, '1']
- [digital_chunks_to_symbols_xx_0, '0', rrc_tx, '0']
- [digital_chunks_to_symbols_xx_0, '0', tx_const_sink, '0']
- [e_BER_Curve, '0', blocks_null_sink_0, '0']
- [e_BER_Curve, '1', curva_ber, '0']
- [e_EbN0_Sweep, '0', e_Metricas_Sistema_CSV, '1']
- [e_EbN0_Sweep, '0', rx_agc, '0']
- [e_EbN0_Sweep, '1', e_Metricas_Sistema_CSV, '6']
- [e_Rx_Align, '0', e_Metricas_Sistema_CSV, '5']
- [e_Rx_Align, '0', unpack_rx, '0']
- [e_Rx_Align, '1', e_Metricas_Sistema_CSV, '4']
- [e_Rx_Align, '1', unpack_ref, '0']
- [noise_add, '0', qtgui_freq_sink_x_0, '0']
- [noise_add, '0', tx_scale, '0']
- [noise_src, '0', noise_add, '1']
- [osmosdr_source_0, '0', rx_xlating, '0']
- [rational_resampler_xxx_0, '0', osmosdr_sink_0, '0']
- [rrc_tx, '0', noise_add, '0']
- [rx_agc, '0', rx_fll, '0']
- [rx_clock, '0', rx_costas, '0']
- [rx_costas, '0', e_Rx_Align, '0']
- [rx_costas, '0', rx_const_sink, '0']
- [rx_fll, '0', rx_clock, '0']
- [rx_xlating, '0', e_EbN0_Sweep, '0']
- [rx_xlating, '0', e_Metricas_Sistema_CSV, '0']
- [rx_xlating, '0', rx_freq_sink_bb, '0']
- [tx_scale, '0', rational_resampler_xxx_0, '0']
- [unpack_ref, '0', e_BER_Curve, '0']
- [unpack_ref, '0', e_Metricas_Sistema_CSV, '2']
- [unpack_rx, '0', e_BER_Curve, '1']
- [unpack_rx, '0', e_Metricas_Sistema_CSV, '3']

metadata:
  file_format: 1
  grc_version: 3.10.12.0
